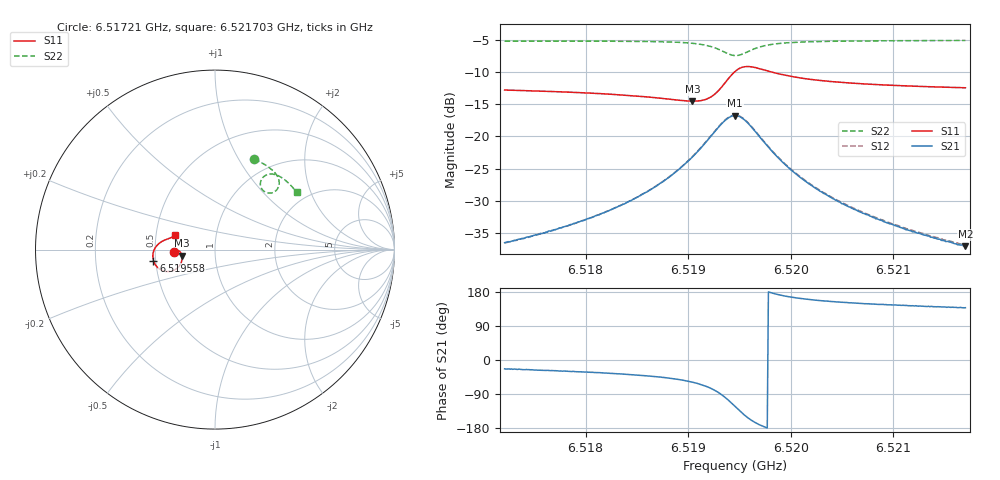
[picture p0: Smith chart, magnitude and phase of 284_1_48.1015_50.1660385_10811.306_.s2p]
#  HZ  S  RI  R  50.00
! Rohde & Schwarz Vector Network Analyzer
! Rohde-Schwarz,ZNB20-2Port,1311601062101988,3.16
! Created: UTC 12/23/2023, 4:03:05 AM
! freq[Hz]  re:S11  im:S11  re:S21  im:S21  re:S12  im:S12  re:S22  im:S22
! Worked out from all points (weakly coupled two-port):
!   401 points, 6.51721 GHz to 6.521703 GHz, reference 50 ohm
!   highest |S21| = -16.77 dB at 6.519457 GHz (marker M1); lowest = -37.0 dB at 6.521703 GHz (marker M2)
!   lowest |S11| = -14.5 dB at 6.519041 GHz (marker M3), VSWR 1.46, Z = 34.3 - j2.38 ohm
!   |S11| at or under -10 dB: start of sweep to 6.519451 GHz; 6.519814 GHz to end of sweep
!   |S22| runs from -7.4 to -5.1 dB; largest |S21 - S12| = 0.0044
!   S11 on the Smith chart (normalised r, x): 6.51721 GHz: 0.63, -0.02; 6.519558 GHz: 0.49, -0.07; 6.521703 GHz: 0.63, +0.10
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6.5172103e9  -0.2289 -0.0126  0.0138 -0.00594  0.0138 -0.00546  0.2183 0.5034
6.5176035e9  -0.224 -0.00727  0.0159 -0.00816  0.0162 -0.00767  0.2471 0.4901
6.5179629e9  -0.2184 -0.00356  0.0189 -0.0115  0.0193 -0.011  0.2737 0.4758
6.518356e9  -0.21 -0.0023  0.0236 -0.0178  0.0242 -0.017  0.3033 0.4563
6.5187154e9  -0.1985 -0.00825  0.0303 -0.03  0.0313 -0.0291  0.3313 0.4314
6.5188727e9  -0.1918 -0.016  0.0337 -0.0402  0.0352 -0.0394  0.3436 0.4157
6.5190412e9  -0.1848 -0.0335  0.0362 -0.0592  0.0382 -0.0583  0.3548 0.3917
6.5191535e9  -0.1839 -0.0548  0.0335 -0.0798  0.0361 -0.0794  0.3577 0.3684
6.5192321e9  -0.1901 -0.0768  0.0244 -0.0996  0.0277 -0.0997  0.3531 0.348
6.5192883e9  -0.2024 -0.0956  0.0108 -0.1156  0.0143 -0.1162  0.3433 0.3322
6.5193669e9  -0.2371 -0.1184  -0.0237 -0.1325  -0.0199 -0.1342  0.316 0.3158
6.5194568e9  -0.2979 -0.1145  -0.0777 -0.1225  -0.0749 -0.1259  0.2737 0.3244
6.5195017e9  -0.3244 -0.0947  -0.0991 -0.1027  -0.0968 -0.1063  0.2586 0.3416
6.5195579e9  -0.3429 -0.0616  -0.1116 -0.0716  -0.1105 -0.0755  0.2525 0.3674
6.5196702e9  -0.3401 -0.00432  -0.103 -0.0228  -0.1033 -0.0259  0.27 0.405
6.5197937e9  -0.3182 0.0285  -0.0806 0.00171  -0.0815 -0.000579  0.2986 0.4195
6.5199847e9  -0.2906 0.0482  -0.0551 0.0129  -0.0562 0.0116  0.3323 0.4186
6.5202093e9  -0.2705 0.0567  -0.0385 0.0151  -0.0394 0.014  0.3595 0.4082
6.5205126e9  -0.2544 0.0628  -0.0265 0.014  -0.0272 0.0133  0.3863 0.3908
6.5209619e9  -0.2402 0.0692  -0.0174 0.0119  -0.018 0.0116  0.4164 0.3638
6.5213775e9  -0.2311 0.0747  -0.0129 0.0103  -0.0134 0.0102  0.4397 0.3385
6.5217032e9  -0.2253 0.079  -0.0105 0.00942  -0.0109 0.00932  0.4558 0.3182
